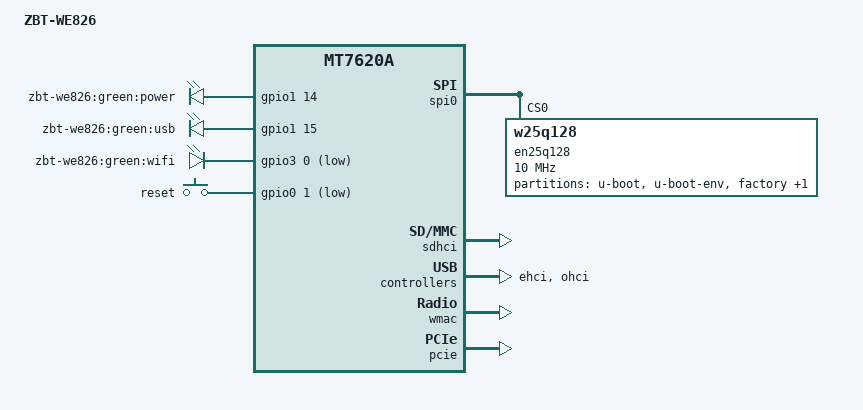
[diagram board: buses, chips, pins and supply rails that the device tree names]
/dts-v1/;

#include "mt7620a.dtsi"

/ {
	compatible = "zbtlink,zbt-we826", "ralink,mt7620a-soc";
	model = "ZBT-WE826";

	chosen {
		bootargs = "console=ttyS0,115200";
	};

	gpio-leds {
		compatible = "gpio-leds";
		power {
			label = "zbt-we826:green:power";
			gpios = <&gpio1 14 0>;
		};
		usb {
			label = "zbt-we826:green:usb";
			gpios = <&gpio1 15 0>;
		};
		air {
			label = "zbt-we826:green:wifi";
			gpios = <&gpio3 0 1>;
		};
	};

	gpio-keys-polled {
		compatible = "gpio-keys-polled";
		#address-cells = <1>;
		#size-cells = <0>;
		poll-interval = <20>;
		reset {
			label = "reset";
			gpios = <&gpio0 1 1>;
			linux,code = <0x198>;
		};
	};
};

&gpio0 {
	status = "okay";
};

&gpio1 {
	status = "okay";
};

&gpio3 {
	status = "okay";
};

&spi0 {
	status = "okay";

	en25q128@0 {
		#address-cells = <1>;
		#size-cells = <1>;
		compatible = "w25q128";
		reg = <0>;
		linux,modalias = "m25p80";
		spi-max-frequency = <10000000>;

		partition@0 {
			label = "u-boot";
			reg = <0x0 0x30000>;
			read-only;
		};

		partition@30000 {
			label = "u-boot-env";
			reg = <0x30000 0x10000>;
			read-only;
		};

		factory: partition@40000 {
			label = "factory";
			reg = <0x40000 0x10000>;
			read-only;
		};

		partition@50000 {
			label = "firmware";
			reg = <0x50000 0xfb0000>;
		};
	};
};

&sdhci {
	status = "okay";
};

&ehci {
	status = "okay";
};

&ohci {
	status = "okay";
};

&ethernet {
	mtd-mac-address = <&factory 0x4>;
	ralink,port-map = "wllll";
};

&wmac {
	ralink,mtd-eeprom = <&factory 0>;
};

&pinctrl {
	state_default: pinctrl0 {
		default {
			ralink,group = "i2c", "uartf", "wled", "spi refclk", "pa";
			ralink,function = "gpio";
		};
	};
};

&pcie {
	status = "okay";
};
